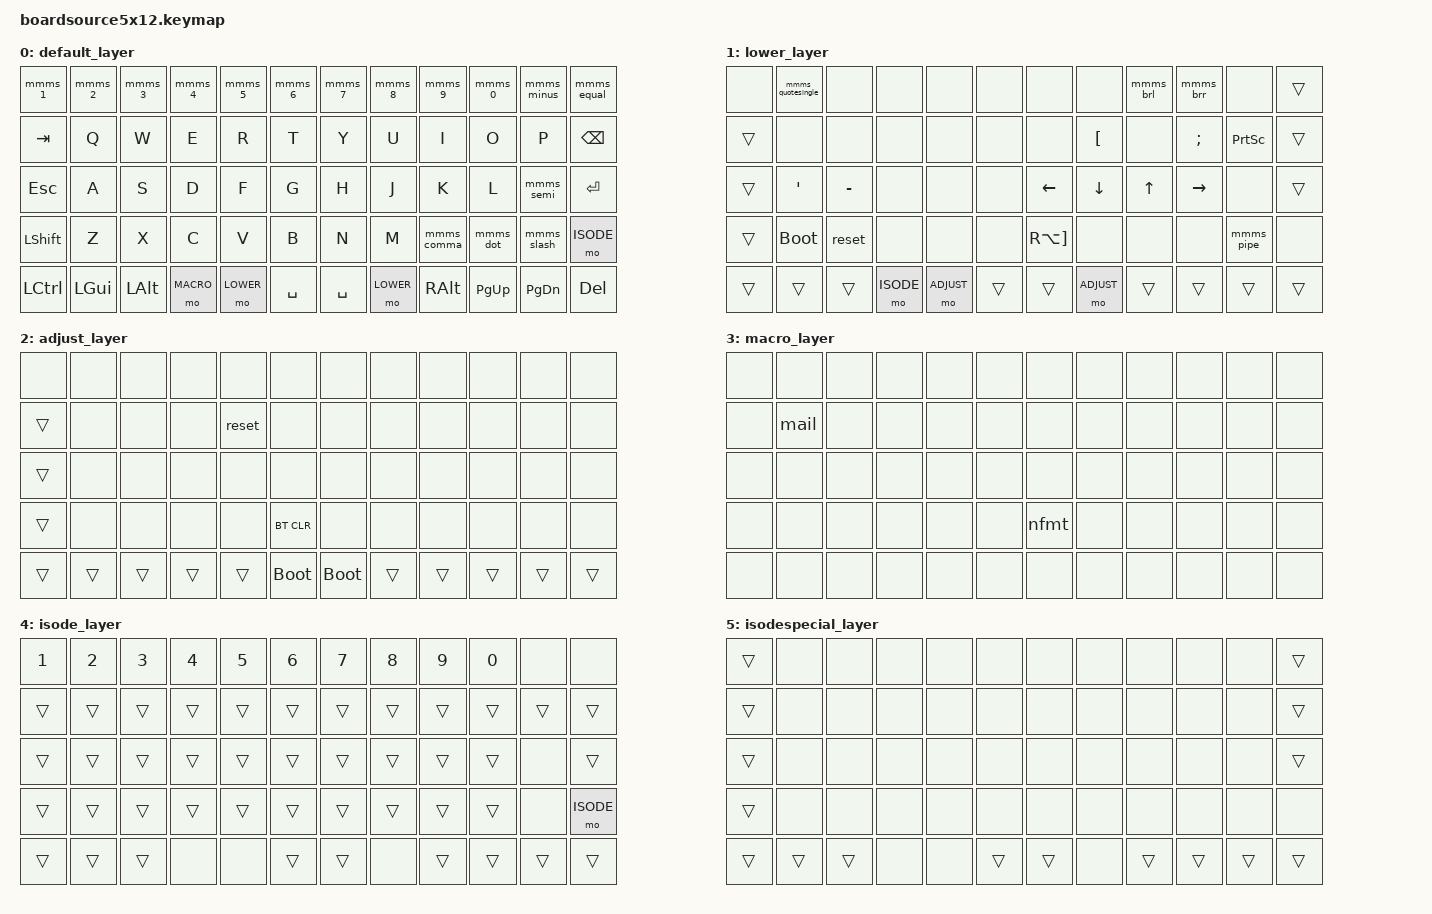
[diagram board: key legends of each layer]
/*
 * Copyright (c) 2021 The ZMK Contributors
 *
 * SPDX-License-Identifier: MIT
 */
 
#include <behaviors.dtsi>
#include <dt-bindings/zmk/keys.h>
#include <dt-bindings/zmk/bt.h>
#include <dt-bindings/zmk/outputs.h>

#define DEFAULT 0
#define LOWER   1
#define ADJUST   2
#define MACRO     3
#define ISODE     4
#define ISODESPECIAL     5

#define DE_SLASH        LS(N7)
#define DE_QUESTION     LS(MINUS)
#define DE_LT    	NON_US_BACKSLASH
#define DE_MT    	LS(NON_US_BACKSLASH)

#define DE_COLON    	LS(DOT)
#define DE_SEMICOLON    LS(COMMA)
#define DE_OE    	SEMICOLON
#define DE_AE    	SINGLE_QUOTE
#define DE_UE    	LEFT_BRACKET
#define DE_PLUS    	RIGHT_BRACKET
#define DE_SS    	MINUS
#define DE_BACKSLASH    RA(MINUS)
#define DE_MINUS        SLASH
#define DE_EQUAL        LS(N0)
#define DE_UNDERSCORE   LS(SLASH)
#define DE_PIPE		RA(NON_US_BACKSLASH)

#define DE_EXCL 	LS(N1)
#define DE_QUOTEDOUBLE 	LS(N2)
#define DE_HASH 	BACKSLASH
#define DE_QUOTESINGLE 	LS(BACKSLASH)
#define DE_USD		LS(N4)
#define DE_PERCT	LS(N5)
#define DE_CRRT		GRAVE
#define DE_AMPST	RS(N6)
#define DE_ASRSK	RS(RIGHT_BRACKET)
#define DE_BRL_RND	RS(N8)	
#define DE_BRL_CRL	RA(N7)	
#define DE_BRL_SQR	RA(N8)	
#define DE_BRR_RND	LS(N9)
#define DE_BRR_CRL	RA(N0)	
#define DE_BRR_SQR   	RA(N9)	
#define DE_BACKTICK    	EQUAL	
#define DE_TILDE    	RA(RIGHT_BRACKET)	
#define DE_AT    	RA(Q)	


#define str(s) #s

#define MOD_MORPH_NOSHIFT_MACRO(NAME, KEY, MOD_KEY) \
ZMK_MACRO(macro_##NAME,\
   wait-ms = <16>;\
   tap-ms = <0>;\
   bindings\
   = <&macro_release &kp LSHFT>\
   , <&macro_tap &kp MOD_KEY>\
   , <&macro_press &kp LSHFT>;)\
\
mm_##NAME: mm_##NAME {\
   compatible = "zmk,behavior-mod-morph";\
   label = str(NAME);\
   #binding-cells = <0>;\
   bindings = <&kp KEY>, <&macro_##NAME>;\
   mods = <(MOD_LSFT|MOD_RSFT)>;\
}; \

#define MOD_MORPH(NAME, KEY, MOD_KEY) \
  mm_##NAME: mm_##NAME { \
    compatible = "zmk,behavior-mod-morph"; \
    label = str(NAME); \
    #binding-cells = <0>; \
    bindings = <&kp KEY>, <&kp MOD_KEY>; \
    mods = <(MOD_LSFT|MOD_RSFT)>; \
  }; \

#define MM_MASKEDLSHIFT(NAME, KEY, MOD_KEY) \
  mmms_##NAME: mmms_##NAME { \
    compatible = "zmk,behavior-mod-morph"; \
    label = str(NAME); \
    #binding-cells = <0>; \
    bindings = <&kp KEY>, <&kp MOD_KEY>; \
    mods = <(MOD_LSFT)>; \
    masked_mods = <(MOD_LSFT)>; \
  }; \

#define MM_NOMASKEDLSHIFT(NAME, KEY, MOD_KEY) \
  mmms_##NAME: mmms_##NAME { \
    compatible = "zmk,behavior-mod-morph"; \
    label = str(NAME); \
    #binding-cells = <0>; \
    bindings = <&kp KEY>, <&kp MOD_KEY>; \
    mods = <(MOD_LSFT)>; \
    masked_mods = <0>; \
  }; \



/ {

	behaviors {
		MM_NOMASKEDLSHIFT(dot, DOT, DE_LT)
		MM_MASKEDLSHIFT(comma, COMMA, DE_LT)		
		MM_NOMASKEDLSHIFT(slash, DE_SLASH, MINUS)
		MM_NOMASKEDLSHIFT(semi, DE_SEMICOLON, DOT)
		MM_MASKEDLSHIFT(pipe, DE_PIPE, DE_BACKSLASH)		
		
		


		 MM_NOMASKEDLSHIFT(minus, DE_MINUS, SLASH)
		 MM_MASKEDLSHIFT(equal, DE_EQUAL, DE_PLUS)
		 MM_MASKEDLSHIFT(quotesingle, DE_QUOTESINGLE, DE_BACKTICK)

		 
		 MM_NOMASKEDLSHIFT(1, N1, N1)
		 MM_NOMASKEDLSHIFT(2, N2, N2)
		 MM_MASKEDLSHIFT(3, N3, DE_HASH)
		 MM_NOMASKEDLSHIFT(4, N4, N4)
		 MM_NOMASKEDLSHIFT(5, N5, N5)
		 MM_MASKEDLSHIFT(6, N6, DE_CRRT)
		 MM_NOMASKEDLSHIFT(7, N7, N6)
		 MM_NOMASKEDLSHIFT(8, N8, RIGHT_BRACKET)
		 MM_MASKEDLSHIFT(9, N9, DE_BRL_RND)
		 MM_NOMASKEDLSHIFT(0, N0, N9)
		 MM_MASKEDLSHIFT(brl,DE_BRL_SQR, DE_BRL_CRL)
		 MM_MASKEDLSHIFT(brr,DE_BRR_SQR, DE_BRR_CRL)

	
		
  		ZMK_MACRO(nfmt,
		wait-ms = <0>;
		tap-ms = <0>;
		bindings
		= <&macro_tap &kp DE_BRL_CRL &kp N &kp O &kp F &kp O &kp R &kp M &kp A &kp T &kp DE_BRR_CRL >
		;)
		
		ZMK_MACRO(mail,
		wait-ms = <0>;
		tap-ms = <0>;
		bindings
		= <&macro_tap &kp A &kp L &kp E &kp X &kp A &kp N &kp D &kp E &kp R &kp DOT &kp K &kp L &kp A &kp U &kp T &kp K &kp E &kp DE_AT &kp S &kp V &kp A &kp DOT &kp D &kp E >
		;)
		
		
		


	

	
	};


    keymap {
        compatible = "zmk,keymap";

        default_layer {
            // ------------------------------------------------------------------------------------------
            // |   1   |  2   |  3   |  4   |  5   |   6   |  7    |  8   |  9   |  0   |   -   |  +    |
            // | TAB   |  Q   |  W   |  E   |  R   |  T   |   Z   |  U    |  I   |  O   |   P   |  BS   |
            // | ESC   |  A   |  S   |  D   |  F   |  G   |   H   |  J    |  K   |  L   |   ;   |  ENT  |
            // | SHIFT |  Y   |  X   |  C   |  V   |  B   |   N   |  M    |  ,   |  .   |  /    | SHIFT |
            // | CTRL  | GUI  | ALT  | MCRO | LWR | SPACE| SPACE |  LOWR | RALT | PGUP | PGDN  | DEL   |


            bindings = <
                &mmms_1    &mmms_2      &mmms_3     &mmms_4  &mmms_5    &mmms_6     &mmms_7     &mmms_8 &mmms_9     &mmms_0     &mmms_minus      &mmms_equal 
                &kp TAB    &kp Q        &kp W       &kp E    &kp R      &kp T       &kp Y       &kp U   &kp I       &kp O       &kp P          &kp BSPC
                &kp ESC    &kp A        &kp S       &kp D    &kp F      &kp G       &kp H       &kp J   &kp K       &kp L       &mmms_semi  &kp RET
                &kp LSHFT  &kp Z        &kp X       &kp C    &kp V      &kp B       &kp N       &kp M   &mmms_comma &mmms_dot &mmms_slash      &mo ISODE
                &kp LCTRL  &kp LGUI     &kp LALT    &mo MACRO &mo LOWER &kp SPACE  &kp SPACE    &mo LOWER &kp RALT  &kp PG_UP   &kp PG_DN      &kp DEL 
            >;
        };

        lower_layer {
            // -------------------------------------------------------------------------------------------
            // |       |      |      |      |      |      |       |       |      |[ {   | } ]   |       |
            // |       |      |      |      |      |      |       |       |      |      | PSCRN |       |
            // |       |      |      |      |      |      |   L   |  D    |  U   |  R   |       |       |
            // |       |      |      |      |      |      |  ~    |      |      | | \   |       |
            // |       |      |      |      |      |      |       |       |      |      |       |       |
            bindings = <
                &none     &mmms_quotesingle     &none    &none    &none      &none    &none     &none      &mmms_brl   &mmms_brr   &none      &trans
                &trans    &none     &none    &none    &none      &none    &none     &kp DE_UE  &none    &kp DE_OE  &kp PSCRN  &trans
                &trans    &kp DE_AE &kp DE_SS &none    &none      &none    &kp LEFT  &kp DOWN   &kp UP   &kp RIGHT  &none      &trans
                &trans    &bootloader &reset   &none    &none      &none    &kp DE_TILDE     &none      &none    &none      &mmms_pipe  &none
                &trans    &trans    &trans   &mo ISODE   &mo ADJUST &trans   &trans    &mo ADJUST &trans   &trans     &trans     &trans 
            >;
        };

        adjust_layer {
            // ------------------------------------------------------------------------------------------
            // |NA    |  NA  |  NA  |  NA  |  NA  |  NA  |  NA  |  NA  |  NA  |  NA  |  NA |    NA      |
            // |      |  NA  |  NA  |  NA  |RESET |  NA  |  NA  |  NA  |  NA  |  NA  |  NA  |   NA      |
            // |      |  NA  |  NA  |  NA  |  NA  |  NA  |  NA  |  NA  |  NA  |  NA  |  NA  |   NA      |
            // |      |  NA  |  NA  |  NA  |  NA  |BT CLR|  NA  |  NA  |  NA  |  NA  |  NA  |   NA      |
            // |      |      |      |      |      |BOOTLD|BOOTLD|      |      |      |      |           |
            bindings = <
                &none  &none  &none  &none  &none  &none         &none       &none  &none  &none  &none  &none
                &trans &none  &none  &none  &reset &none         &none       &none  &none  &none  &none  &none
                &trans &none  &none  &none  &none  &none         &none       &none  &none  &none  &none  &none
                &trans &none  &none  &none  &none  &bt BT_CLR    &none       &none  &none  &none  &none  &none
                &trans &trans &trans &trans &trans &bootloader   &bootloader &trans &trans &trans &trans &trans
            >;
        };
        macro_layer {
            // ------------------------------------------------------------------------------------------
            // |  NA  |  NA  |  NA  |  NA  |  NA  |  NA  |  NA  |  NA  |  NA  |  NA  |  NA |    NA      |
            // |  NA  |  NA  |  NA  |  NA  |  NA  |  NA  |  NA  |  NA  |  NA  |  NA  |  NA  |   NA      |
            // |  NA  |  NA  |  NA  |  NA  |  NA  |  NA  |  NA  |  NA  |  NA  |  NA  |  NA  |   NA      |
            // |  NA  |  NA  |  NA  |  NA  |  NA  |  NA  |  NA  |  NA  |  NA  |  NA  |  NA  |   NA      |
            // |  NA  |  NA  |  NA  |  NA  |  NA  |  NA  |  NA  |  NA  |  NA  |  NA  |  NA  |   NA      |
            bindings = <
                &none  &none  &none  &none  &none  &none  &none  &none  &none  &none  &none  &none
                &none  &mail  &none  &none  &none  &none  &none  &none  &none  &none  &none  &none
                &none  &none  &none  &none  &none  &none  &none  &none  &none  &none  &none  &none
                &none  &none  &none  &none  &none  &none  &nfmt  &none  &none  &none  &none  &none
                &none  &none  &none  &none  &none  &none  &none  &none  &none  &none  &none  &none
            >;
        };
        isode_layer {
            // ------------------------------------------------------------------------------------------
            // |  NA  |  NA  |  NA  |  NA  |  NA  |  NA  |  NA  |  NA  |  NA  |  NA  |  NA |    NA      |
            // |  NA  |  NA  |  NA  |  NA  |  NA  |  NA  |  NA  |  NA  |  NA  |  NA  |  NA  |   NA      |
            // |  NA  |  NA  |  NA  |  NA  |  NA  |  NA  |  NA  |  NA  |  NA  |  NA  |  NA  |   NA      |
            // |  NA  |  NA  |  NA  |  NA  |  NA  |  NA  |  NA  |  NA  |  NA  |  NA  |  NA  |   NA      |
            // |  NA  |  NA  |  NA  |  NA  |  NA  |  NA  |  NA  |  NA  |  NA  |  NA  |  NA  |   NA      |
            bindings = <
                &kp N1     &kp N2       &kp N3      &kp N4   &kp N5     &kp N6      &kp N7      &kp N8     &kp N9       &kp N0       &none           &none 
                &trans     &trans       &trans      &trans   &trans     &trans      &trans      &trans     &trans       &trans       &trans          &trans
                &trans     &trans       &trans      &trans   &trans     &trans	    &trans      &trans     &trans       &trans       &none   	     &trans
                &trans     &trans       &trans      &trans   &trans     &trans      &trans      &trans     &trans       &trans       &none           &mo ISODE
                &trans     &trans       &trans      &none    &none      &trans      &trans     &none	   &trans       &trans       &trans          &trans 
            >;
        };
        isodespecial_layer {
            // ------------------------------------------------------------------------------------------
            // |  NA  |  NA  |  NA  |  NA  |  NA  |  NA  |  NA  |  NA  |  NA  |  NA  |  NA |    NA      |
            // |  NA  |  NA  |  NA  |  NA  |  NA  |  NA  |  NA  |  NA  |  NA  |  NA  |  NA  |   NA      |
            // |  NA  |  NA  |  NA  |  NA  |  NA  |  NA  |  NA  |  NA  |  NA  |  NA  |  NA  |   NA      |
            // |  NA  |  NA  |  NA  |  NA  |  NA  |  NA  |  NA  |  NA  |  NA  |  NA  |  NA  |   NA      |
            // |  NA  |  NA  |  NA  |  NA  |  NA  |  NA  |  NA  |  NA  |  NA  |  NA  |  NA  |   NA      |
            bindings = <
                &trans     &none        &none       &none    &none      &none       &none       &none      &none        &none        &none           &trans
                &trans     &none        &none       &none    &none      &none       &none       &none      &none        &none        &none           &trans
                &trans     &none        &none       &none    &none      &none 	    &none       &none      &none        &none        &none           &trans
                &trans     &none        &none       &none    &none      &none       &none       &none      &none        &none        &none           &none
                &trans     &trans       &trans      &none    &none      &trans      &trans      &none	   &trans       &trans       &trans          &trans 
            >;
        };


    };
};
